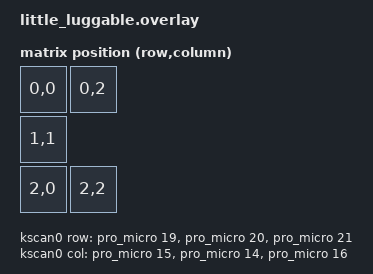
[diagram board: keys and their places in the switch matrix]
#include <dt-bindings/zmk/matrix_transform.h>

/ {
    chosen {
        zmk,kscan = &kscan0;
        zmk,matrix_transform = &default_transform;
    };

    kscan0: kscan_0 {
        compatible = "zmk,kscan-gpio-matrix";
        label = "KSCAN";
        diode-direction = "col2row";

        col-gpios
            = <&pro_micro 15 GPIO_ACTIVE_HIGH>
            , <&pro_micro 14 GPIO_ACTIVE_HIGH>
            , <&pro_micro 16 GPIO_ACTIVE_HIGH>
            ;

        row-gpios
            = <&pro_micro 19 (GPIO_ACTIVE_HIGH | GPIO_PULL_DOWN)>
            , <&pro_micro 20 (GPIO_ACTIVE_HIGH | GPIO_PULL_DOWN)>
            , <&pro_micro 21 (GPIO_ACTIVE_HIGH | GPIO_PULL_DOWN)>
            ;
    };

    default_transform: matrix_transform {
        compatible = "zmk,matrix-transform";
        columns = <3>;
        rows = <3>;
        map = <
            RC(0,0)         RC(0,2)
                    RC(1,1)
            RC(2,0)         RC(2,2)
        >;
    };

};
